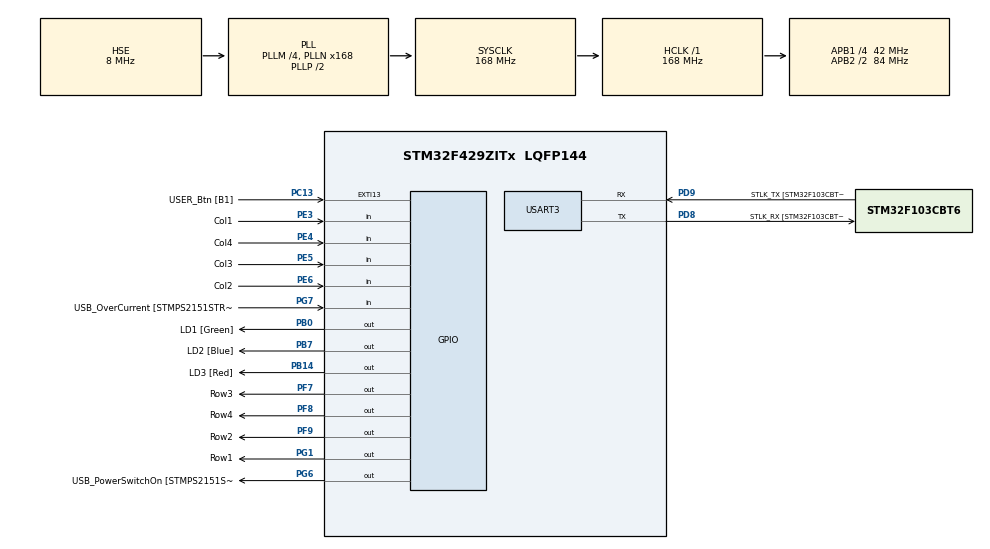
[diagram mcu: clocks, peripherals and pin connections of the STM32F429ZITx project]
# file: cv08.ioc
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Mcu.Family=STM32F4
Mcu.Name=STM32F429ZITx
Mcu.Package=LQFP144
NVIC.PriorityGroup=NVIC_PRIORITYGROUP_4
NVIC.TIM2_IRQn=true\:0\:0\:false\:false\:true\:true\:true
PA1.GPIO_Label=RMII_REF_CLK [LAN8742A-CZ-TR_REFCLK0]
PA1.Signal=ETH_REF_CLK
PA10.GPIO_Label=USB_ID
PA10.Signal=USB_OTG_FS_ID
PA11.GPIO_Label=USB_DM
PA11.Signal=USB_OTG_FS_DM
PA12.GPIO_Label=USB_DP
PA12.Signal=USB_OTG_FS_DP
PA13.GPIO_Label=TMS
PA13.Mode=Serial_Wire
PA13.Signal=SYS_JTMS-SWDIO
PA14.GPIO_Label=TCK
PA14.Mode=Serial_Wire
PA14.Signal=SYS_JTCK-SWCLK
PA2.GPIO_Label=RMII_MDIO [LAN8742A-CZ-TR_MDIO]
PA2.Signal=ETH_MDIO
PA7.GPIO_Label=RMII_CRS_DV [LAN8742A-CZ-TR_CRS_DV]
PA7.Signal=ETH_CRS_DV
PA8.GPIO_Label=USB_SOF [TP1]
PA8.Signal=USB_OTG_FS_SOF
PA9.GPIO_Label=USB_VBUS
PA9.Signal=USB_OTG_FS_VBUS
PB0.GPIO_Label=LD1 [Green]
PB0.Signal=GPIO_Output
PB13.GPIO_Label=RMII_TXD1 [LAN8742A-CZ-TR_TXD1]
PB13.Signal=ETH_TXD1
PB14.GPIO_Label=LD3 [Red]
PB14.Signal=GPIO_Output
PB7.GPIO_Label=LD2 [Blue]
PB7.Signal=GPIO_Output
PC1.GPIO_Label=RMII_MDC [LAN8742A-CZ-TR_MDC]
PC1.Signal=ETH_MDC
PC13.GPIO_Label=USER_Btn [B1]
PC13.Signal=GPXTI13
PC14/OSC32_IN.Mode=LSE-External-Oscillator
PC14/OSC32_IN.Signal=RCC_OSC32_IN
PC15/OSC32_OUT.Mode=LSE-External-Oscillator
PC15/OSC32_OUT.Signal=RCC_OSC32_OUT
PC4.GPIO_Label=RMII_RXD0 [LAN8742A-CZ-TR_RXD0]
PC4.Signal=ETH_RXD0
PC5.GPIO_Label=RMII_RXD1 [LAN8742A-CZ-TR_RXD1]
PC5.Signal=ETH_RXD1
PD8.GPIO_Label=STLK_RX [STM32F103CBT6_PA3]
PD8.Mode=Asynchronous
PD8.Signal=USART3_TX
PD9.GPIO_Label=STLK_TX [STM32F103CBT6_PA2]
PD9.Mode=Asynchronous
PD9.Signal=USART3_RX
PE3.GPIO_Label=Col1
PE3.GPIO_PuPd=GPIO_PULLUP
PE3.Signal=GPIO_Input
PE4.GPIO_Label=Col4
PE4.GPIO_PuPd=GPIO_PULLUP
PE4.Signal=GPIO_Input
PE5.GPIO_Label=Col3
PE5.GPIO_PuPd=GPIO_PULLUP
PE5.Signal=GPIO_Input
PE6.GPIO_Label=Col2
PE6.GPIO_PuPd=GPIO_PULLUP
PE6.Signal=GPIO_Input
PF7.GPIO_Label=Row3
PF7.GPIO_ModeDefaultOutputPP=GPIO_MODE_OUTPUT_OD
PF7.Signal=GPIO_Output
PF8.GPIO_Label=Row4
PF8.GPIO_ModeDefaultOutputPP=GPIO_MODE_OUTPUT_OD
PF8.Signal=GPIO_Output
PF9.GPIO_Label=Row2
PF9.GPIO_ModeDefaultOutputPP=GPIO_MODE_OUTPUT_OD
PF9.Signal=GPIO_Output
PG1.GPIO_Label=Row1
PG1.GPIO_ModeDefaultOutputPP=GPIO_MODE_OUTPUT_OD
PG1.Signal=GPIO_Output
PG11.GPIO_Label=RMII_TX_EN [LAN8742A-CZ-TR_TXEN]
PG11.Signal=ETH_TX_EN
PG13.GPIO_Label=RMII_TXD0 [LAN8742A-CZ-TR_TXD0]
PG13.Signal=ETH_TXD0
PG6.GPIO_Label=USB_PowerSwitchOn [STMPS2151STR_EN]
PG6.Signal=GPIO_Output
PG7.GPIO_Label=USB_OverCurrent [STMPS2151STR_FAULT]
PG7.Signal=GPIO_Input
PH0/OSC_IN.GPIO_Label=MCO [STM32F103CBT6_PA8]
PH0/OSC_IN.Mode=HSE-External-Clock-Source
PH0/OSC_IN.Signal=RCC_OSC_IN
PH1/OSC_OUT.Mode=HSE-External-Clock-Source
PH1/OSC_OUT.Signal=RCC_OSC_OUT
ProjectManager.HeapSize=0x200
ProjectManager.StackSize=0x400
ProjectManager.TargetToolchain=STM32CubeIDE
RCC.48MHZClocksFreq_Value=48000000
RCC.AHBFreq_Value=168000000
RCC.APB1CLKDivider=RCC_HCLK_DIV4
RCC.APB1Freq_Value=42000000
RCC.APB1TimFreq_Value=84000000
RCC.APB2CLKDivider=RCC_HCLK_DIV2
RCC.APB2Freq_Value=84000000
RCC.APB2TimCLKDivider=2
RCC.APB2TimFreq_Value=168000000
RCC.CortexFreq_Value=168000000
RCC.HCLKFreq_Value=168000000
RCC.HSE_VALUE=8000000
RCC.HSI_VALUE=16000000
RCC.PLLM=4
RCC.PLLMUL=RCC_PLL_MUL9
RCC.PLLN=168
RCC.PLLQ=7
RCC.PLLSourceVirtual=RCC_PLLSOURCE_HSE
RCC.PRESCALERUSB=RCC_USBCLKSOURCE_PLL_DIV1_5
RCC.SYSCLKFreq_VALUE=168000000
RCC.SYSCLKSource=RCC_SYSCLKSOURCE_PLLCLK
RCC.SYSCLKSourceVirtual=RCC_SYSCLKSOURCE_PLLCLK
RCC.USBFreq_Value=48000000
RCC.VCOOutputFreq_Value=336000000
TIM2.AutoReloadPreload=TIM_AUTORELOAD_PRELOAD_ENABLE
TIM2.Period=99
TIM2.Prescaler=8399
USART3.VirtualMode=VM_ASYNC
VP_TIM2_VS_ClockSourceINT.Mode=Internal
board=NUCLEO-F429ZI

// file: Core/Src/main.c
/* USER CODE BEGIN Header */
/**
  ******************************************************************************
  * @file           : main.c
  * @brief          : Main program body
  ******************************************************************************
  * @attention
  *
  * <h2><center>&copy; Copyright (c) 2020 STMicroelectronics.
  * All rights reserved.</center></h2>
  *
  * This software component is licensed by ST under BSD 3-Clause license,
  * the "License"; You may not use this file except in compliance with the
  * License. You may obtain a copy of the License at:
  *                        opensource.org/licenses/BSD-3-Clause
  *
  ******************************************************************************
  */
/* USER CODE END Header */

#include "main.h"

/* USER CODE BEGIN Includes */
#include <stdio.h>
/* USER CODE END Includes */

TIM_HandleTypeDef htim2;

UART_HandleTypeDef huart3;

/* USER CODE BEGIN PV */
static volatile int8_t key = -1;
/* USER CODE END PV */

void SystemClock_Config(void);
static void MX_GPIO_Init(void);
static void MX_TIM2_Init(void);
static void MX_USART3_UART_Init(void);

/* USER CODE BEGIN 0 */
int __io_putchar(int ch)
{
	ITM_SendChar(ch); return 0;
}
/* USER CODE END 0 */

int main(void)
{
  /* USER CODE BEGIN 1 */
  const uint8_t code[5] =  { 7, 9, 3, 2, 12 };
  static uint8_t keys_pressed[5] = { 0, 0, 0, 0, 0 };
  uint32_t tick = 0;
  uint8_t check = 0;
  uint8_t counter;
  static uint8_t delay = 0;

  /* USER CODE END 1 */

  /* MCU Configuration--------------------------------------------------------*/

  /* Reset of all peripherals, Initializes the Flash interface and the Systick. */
  HAL_Init();

  /* Configure the system clock */
  SystemClock_Config();

  /* Initialize all configured peripherals */
  MX_GPIO_Init();
  MX_TIM2_Init();
  MX_USART3_UART_Init();
  /* USER CODE BEGIN 2 */
  HAL_TIM_Base_Start_IT(&htim2);  //obsluhu pro skenování - povolení přerušení časové základny
  /* USER CODE END 2 */

  /* Infinite loop */
  while (1)
  {

    /* USER CODE BEGIN 3 */
	HAL_Delay(250);
	tick = HAL_GetTick();

	if ((tick-delay) > 3000) {
	    printf("Time out\n");
	  	counter = 0;
	}

	if (key != -1) {
	    delay = HAL_GetTick();
	    printf("pressed: %d\n",key);
	    keys_pressed[counter] = key;
	    counter++;

	    if (counter >= 5) {
	        counter = 0;
	        printf("resetting\n");

	        for (uint8_t i = 0; i < 5; i++) {
	            if (keys_pressed[i] == code[i])	{
	                printf("right code number\n");
	                check++;
	            }

	            else {
	            	counter = 0;
	            	check = 0;
	            	printf("wrong code number\n");
	            }
	        }
	    }

	    if (check == 5) {
	    	printf("right combination\n");
	    	check = 0;
	    	HAL_GPIO_WritePin(LD1_GPIO_Port, LD1_Pin, GPIO_PIN_SET);
	    	HAL_Delay(1000);
	    	HAL_GPIO_WritePin(LD1_GPIO_Port, LD1_Pin, GPIO_PIN_RESET);
	    }

	    HAL_Delay(250);
	    key = -1;

	}

  }
  /* USER CODE END 3 */
}

void SystemClock_Config(void)
{
  RCC_OscInitTypeDef RCC_OscInitStruct = {0};
  RCC_ClkInitTypeDef RCC_ClkInitStruct = {0};

  /** Configure the main internal regulator output voltage
  */
  __HAL_RCC_PWR_CLK_ENABLE();
  __HAL_PWR_VOLTAGESCALING_CONFIG(PWR_REGULATOR_VOLTAGE_SCALE1);
  /** Initializes the CPU, AHB and APB busses clocks
  */
  RCC_OscInitStruct.OscillatorType = RCC_OSCILLATORTYPE_HSE;
  RCC_OscInitStruct.HSEState = RCC_HSE_BYPASS;
  RCC_OscInitStruct.PLL.PLLState = RCC_PLL_ON;
  RCC_OscInitStruct.PLL.PLLSource = RCC_PLLSOURCE_HSE;
  RCC_OscInitStruct.PLL.PLLM = 4;
  RCC_OscInitStruct.PLL.PLLN = 168;
  RCC_OscInitStruct.PLL.PLLP = RCC_PLLP_DIV2;
  RCC_OscInitStruct.PLL.PLLQ = 7;
  if (HAL_RCC_OscConfig(&RCC_OscInitStruct) != HAL_OK)
  {
    Error_Handler();
  }
  /** Initializes the CPU, AHB and APB busses clocks
  */
  RCC_ClkInitStruct.ClockType = RCC_CLOCKTYPE_HCLK|RCC_CLOCKTYPE_SYSCLK
                              |RCC_CLOCKTYPE_PCLK1|RCC_CLOCKTYPE_PCLK2;
  RCC_ClkInitStruct.SYSCLKSource = RCC_SYSCLKSOURCE_PLLCLK;
  RCC_ClkInitStruct.AHBCLKDivider = RCC_SYSCLK_DIV1;
  RCC_ClkInitStruct.APB1CLKDivider = RCC_HCLK_DIV4;
  RCC_ClkInitStruct.APB2CLKDivider = RCC_HCLK_DIV2;

  if (HAL_RCC_ClockConfig(&RCC_ClkInitStruct, FLASH_LATENCY_5) != HAL_OK)
  {
    Error_Handler();
  }
}

static void MX_TIM2_Init(void)
{

  TIM_ClockConfigTypeDef sClockSourceConfig = {0};
  TIM_MasterConfigTypeDef sMasterConfig = {0};

  htim2.Instance = TIM2;
  htim2.Init.Prescaler = 8399;
  htim2.Init.CounterMode = TIM_COUNTERMODE_UP;
  htim2.Init.Period = 99;
  htim2.Init.ClockDivision = TIM_CLOCKDIVISION_DIV1;
  htim2.Init.AutoReloadPreload = TIM_AUTORELOAD_PRELOAD_ENABLE;
  if (HAL_TIM_Base_Init(&htim2) != HAL_OK)
  {
    Error_Handler();
  }
  sClockSourceConfig.ClockSource = TIM_CLOCKSOURCE_INTERNAL;
  if (HAL_TIM_ConfigClockSource(&htim2, &sClockSourceConfig) != HAL_OK)
  {
    Error_Handler();
  }
  sMasterConfig.MasterOutputTrigger = TIM_TRGO_RESET;
  sMasterConfig.MasterSlaveMode = TIM_MASTERSLAVEMODE_DISABLE;
  if (HAL_TIMEx_MasterConfigSynchronization(&htim2, &sMasterConfig) != HAL_OK)
  {
    Error_Handler();
  }

}

static void MX_USART3_UART_Init(void)
{

  huart3.Instance = USART3;
  huart3.Init.BaudRate = 115200;
  huart3.Init.WordLength = UART_WORDLENGTH_8B;
  huart3.Init.StopBits = UART_STOPBITS_1;
  huart3.Init.Parity = UART_PARITY_NONE;
  huart3.Init.Mode = UART_MODE_TX_RX;
  huart3.Init.HwFlowCtl = UART_HWCONTROL_NONE;
  huart3.Init.OverSampling = UART_OVERSAMPLING_16;
  if (HAL_UART_Init(&huart3) != HAL_OK)
  {
    Error_Handler();
  }

}

static void MX_GPIO_Init(void)
{
  GPIO_InitTypeDef GPIO_InitStruct = {0};

  /* GPIO Ports Clock Enable */
  __HAL_RCC_GPIOE_CLK_ENABLE();
  __HAL_RCC_GPIOC_CLK_ENABLE();
  __HAL_RCC_GPIOF_CLK_ENABLE();
  __HAL_RCC_GPIOH_CLK_ENABLE();
  __HAL_RCC_GPIOA_CLK_ENABLE();
  __HAL_RCC_GPIOB_CLK_ENABLE();
  __HAL_RCC_GPIOG_CLK_ENABLE();
  __HAL_RCC_GPIOD_CLK_ENABLE();

  /*Configure GPIO pin Output Level */
  HAL_GPIO_WritePin(GPIOF, Row3_Pin|Row4_Pin|Row2_Pin, GPIO_PIN_RESET);

  /*Configure GPIO pin Output Level */
  HAL_GPIO_WritePin(GPIOB, LD1_Pin|LD3_Pin|LD2_Pin, GPIO_PIN_RESET);

  /*Configure GPIO pin Output Level */
  HAL_GPIO_WritePin(GPIOG, Row1_Pin|USB_PowerSwitchOn_Pin, GPIO_PIN_RESET);

  /*Configure GPIO pins : Col1_Pin Col4_Pin Col3_Pin Col2_Pin */
  GPIO_InitStruct.Pin = Col1_Pin|Col4_Pin|Col3_Pin|Col2_Pin;
  GPIO_InitStruct.Mode = GPIO_MODE_INPUT;
  GPIO_InitStruct.Pull = GPIO_PULLUP;
  HAL_GPIO_Init(GPIOE, &GPIO_InitStruct);

  /*Configure GPIO pin : USER_Btn_Pin */
  GPIO_InitStruct.Pin = USER_Btn_Pin;
  GPIO_InitStruct.Mode = GPIO_MODE_IT_RISING;
  GPIO_InitStruct.Pull = GPIO_NOPULL;
  HAL_GPIO_Init(USER_Btn_GPIO_Port, &GPIO_InitStruct);

  /*Configure GPIO pins : Row3_Pin Row4_Pin Row2_Pin */
  GPIO_InitStruct.Pin = Row3_Pin|Row4_Pin|Row2_Pin;
  GPIO_InitStruct.Mode = GPIO_MODE_OUTPUT_OD;
  GPIO_InitStruct.Pull = GPIO_NOPULL;
  GPIO_InitStruct.Speed = GPIO_SPEED_FREQ_LOW;
  HAL_GPIO_Init(GPIOF, &GPIO_InitStruct);

  /*Configure GPIO pins : RMII_MDC_Pin RMII_RXD0_Pin RMII_RXD1_Pin */
  GPIO_InitStruct.Pin = RMII_MDC_Pin|RMII_RXD0_Pin|RMII_RXD1_Pin;
  GPIO_InitStruct.Mode = GPIO_MODE_AF_PP;
  GPIO_InitStruct.Pull = GPIO_NOPULL;
  GPIO_InitStruct.Speed = GPIO_SPEED_FREQ_VERY_HIGH;
  GPIO_InitStruct.Alternate = GPIO_AF11_ETH;
  HAL_GPIO_Init(GPIOC, &GPIO_InitStruct);

  /*Configure GPIO pins : RMII_REF_CLK_Pin RMII_MDIO_Pin RMII_CRS_DV_Pin */
  GPIO_InitStruct.Pin = RMII_REF_CLK_Pin|RMII_MDIO_Pin|RMII_CRS_DV_Pin;
  GPIO_InitStruct.Mode = GPIO_MODE_AF_PP;
  GPIO_InitStruct.Pull = GPIO_NOPULL;
  GPIO_InitStruct.Speed = GPIO_SPEED_FREQ_VERY_HIGH;
  GPIO_InitStruct.Alternate = GPIO_AF11_ETH;
  HAL_GPIO_Init(GPIOA, &GPIO_InitStruct);

  /*Configure GPIO pins : LD1_Pin LD3_Pin LD2_Pin */
  GPIO_InitStruct.Pin = LD1_Pin|LD3_Pin|LD2_Pin;
  GPIO_InitStruct.Mode = GPIO_MODE_OUTPUT_PP;
  GPIO_InitStruct.Pull = GPIO_NOPULL;
  GPIO_InitStruct.Speed = GPIO_SPEED_FREQ_LOW;
  HAL_GPIO_Init(GPIOB, &GPIO_InitStruct);

  /*Configure GPIO pin : Row1_Pin */
  GPIO_InitStruct.Pin = Row1_Pin;
  GPIO_InitStruct.Mode = GPIO_MODE_OUTPUT_OD;
  GPIO_InitStruct.Pull = GPIO_NOPULL;
  GPIO_InitStruct.Speed = GPIO_SPEED_FREQ_LOW;
  HAL_GPIO_Init(Row1_GPIO_Port, &GPIO_InitStruct);

  /*Configure GPIO pin : RMII_TXD1_Pin */
  GPIO_InitStruct.Pin = RMII_TXD1_Pin;
  GPIO_InitStruct.Mode = GPIO_MODE_AF_PP;
  GPIO_InitStruct.Pull = GPIO_NOPULL;
  GPIO_InitStruct.Speed = GPIO_SPEED_FREQ_VERY_HIGH;
  GPIO_InitStruct.Alternate = GPIO_AF11_ETH;
  HAL_GPIO_Init(RMII_TXD1_GPIO_Port, &GPIO_InitStruct);

  /*Configure GPIO pin : USB_PowerSwitchOn_Pin */
  GPIO_InitStruct.Pin = USB_PowerSwitchOn_Pin;
  GPIO_InitStruct.Mode = GPIO_MODE_OUTPUT_PP;
  GPIO_InitStruct.Pull = GPIO_NOPULL;
  GPIO_InitStruct.Speed = GPIO_SPEED_FREQ_LOW;
  HAL_GPIO_Init(USB_PowerSwitchOn_GPIO_Port, &GPIO_InitStruct);

  /*Configure GPIO pin : USB_OverCurrent_Pin */
  GPIO_InitStruct.Pin = USB_OverCurrent_Pin;
  GPIO_InitStruct.Mode = GPIO_MODE_INPUT;
  GPIO_InitStruct.Pull = GPIO_NOPULL;
  HAL_GPIO_Init(USB_OverCurrent_GPIO_Port, &GPIO_InitStruct);

  /*Configure GPIO pins : USB_SOF_Pin USB_ID_Pin USB_DM_Pin USB_DP_Pin */
  GPIO_InitStruct.Pin = USB_SOF_Pin|USB_ID_Pin|USB_DM_Pin|USB_DP_Pin;
  GPIO_InitStruct.Mode = GPIO_MODE_AF_PP;
  GPIO_InitStruct.Pull = GPIO_NOPULL;
  GPIO_InitStruct.Speed = GPIO_SPEED_FREQ_VERY_HIGH;
  GPIO_InitStruct.Alternate = GPIO_AF10_OTG_FS;
  HAL_GPIO_Init(GPIOA, &GPIO_InitStruct);

  /*Configure GPIO pin : USB_VBUS_Pin */
  GPIO_InitStruct.Pin = USB_VBUS_Pin;
  GPIO_InitStruct.Mode = GPIO_MODE_INPUT;
  GPIO_InitStruct.Pull = GPIO_NOPULL;
  HAL_GPIO_Init(USB_VBUS_GPIO_Port, &GPIO_InitStruct);

  /*Configure GPIO pins : RMII_TX_EN_Pin RMII_TXD0_Pin */
  GPIO_InitStruct.Pin = RMII_TX_EN_Pin|RMII_TXD0_Pin;
  GPIO_InitStruct.Mode = GPIO_MODE_AF_PP;
  GPIO_InitStruct.Pull = GPIO_NOPULL;
  GPIO_InitStruct.Speed = GPIO_SPEED_FREQ_VERY_HIGH;
  GPIO_InitStruct.Alternate = GPIO_AF11_ETH;
  HAL_GPIO_Init(GPIOG, &GPIO_InitStruct);

}

/* USER CODE BEGIN 4 */
//****************************************************************************************//
// obsluha časové základny,  skenování maticové klávesnice
// Obsluha je „obrácená“, tj. nejdříve se testují sloupce pro řádek aktivovaný
//v předchozím kroku a následně se vybere řádek pro příští krok
//****************************************************************************************//
void HAL_TIM_PeriodElapsedCallback(TIM_HandleTypeDef *htim) {
  static int row = 0;
  static const int keyboard[4][4] = {
      {  1, 2,  3, 21 },
      {  4, 5,  6, 22 },
      {  7, 8,  9, 23 },
      { 11, 0, 12, 24 },
  };

  if (key == -1) {
      if (HAL_GPIO_ReadPin(Col1_GPIO_Port, Col1_Pin) == GPIO_PIN_RESET) key = keyboard[row][0];
      if (HAL_GPIO_ReadPin(Col2_GPIO_Port, Col2_Pin) == GPIO_PIN_RESET) key = keyboard[row][1];
      if (HAL_GPIO_ReadPin(Col3_GPIO_Port, Col3_Pin) == GPIO_PIN_RESET) key = keyboard[row][2];
      if (HAL_GPIO_ReadPin(Col4_GPIO_Port, Col4_Pin) == GPIO_PIN_RESET) key = keyboard[row][3];
  }

  HAL_GPIO_WritePin(Row1_GPIO_Port, Row1_Pin, GPIO_PIN_SET);
  HAL_GPIO_WritePin(Row2_GPIO_Port, Row2_Pin, GPIO_PIN_SET);
  HAL_GPIO_WritePin(Row3_GPIO_Port, Row3_Pin, GPIO_PIN_SET);
  HAL_GPIO_WritePin(Row4_GPIO_Port, Row4_Pin, GPIO_PIN_SET);

  switch (row) {
      case 0: row = 1; HAL_GPIO_WritePin(Row1_GPIO_Port, Row1_Pin, GPIO_PIN_RESET); break;
      case 1: row = 2; HAL_GPIO_WritePin(Row2_GPIO_Port, Row2_Pin, GPIO_PIN_RESET); break;
      case 2: row = 3; HAL_GPIO_WritePin(Row3_GPIO_Port, Row3_Pin, GPIO_PIN_RESET); break;
      case 3: row = 0; HAL_GPIO_WritePin(Row4_GPIO_Port, Row4_Pin, GPIO_PIN_RESET); break;
  }
}
/* USER CODE END 4 */

void Error_Handler(void)
{
}

/************************ (C) COPYRIGHT STMicroelectronics *****END OF FILE****/
